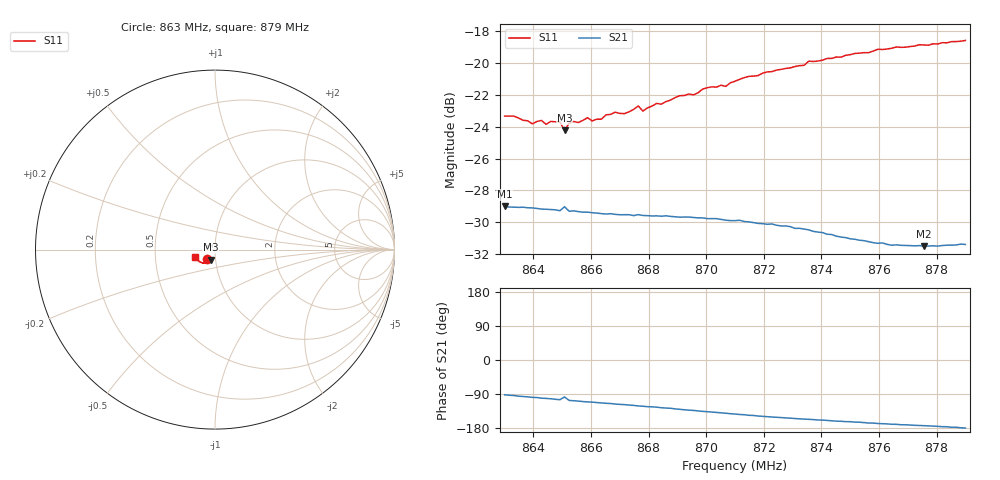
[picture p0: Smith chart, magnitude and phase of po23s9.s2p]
# HZ S RI R 50
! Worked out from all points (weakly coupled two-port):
!   101 points, 863 MHz to 879 MHz, reference 50 ohm
!   highest |S21| = -29.00 dB at 863 MHz (marker M1); lowest = -31.5 dB at 877.56 MHz (marker M2)
!   lowest |S11| = -24.2 dB at 865.08 MHz (marker M3), VSWR 1.13, Z = 47.3 - j5.36 ohm
!   |S11| at or under -10 dB: start of sweep to end of sweep
!   S12 and S22 are empty: the file has one direction only
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8.63e8  -0.0441 -0.052  -0.00117 -0.0355  0 0  0 0
8.6396e8  -0.0383 -0.0519  -0.00525 -0.0347  0 0  0 0
8.6428e8  -0.037 -0.0548  -0.00647 -0.0342  0 0  0 0
8.6444e8  -0.0369 -0.0526  -0.00682 -0.0341  0 0  0 0
8.6492e8  -0.0359 -0.0546  -0.00874 -0.0332  0 0  0 0
8.6508e8  -0.0246 -0.0564  -0.00464 -0.0351  0 0  0 0
8.6524e8  -0.0343 -0.0549  -0.00982 -0.0328  0 0  0 0
8.6572e8  -0.0332 -0.0572  -0.0115 -0.032  0 0  0 0
8.6636e8  -0.0331 -0.0579  -0.0133 -0.0309  0 0  0 0
8.6684e8  -0.034 -0.0614  -0.0148 -0.03  0 0  0 0
8.6716e8  -0.0325 -0.0613  -0.0156 -0.0296  0 0  0 0
8.6764e8  -0.035 -0.0645  -0.0173 -0.0286  0 0  0 0
8.678e8  -0.0335 -0.0623  -0.0176 -0.0282  0 0  0 0
8.6844e8  -0.0346 -0.0657  -0.0194 -0.0267  0 0  0 0
8.6908e8  -0.0387 -0.0689  -0.0211 -0.0251  0 0  0 0
8.6956e8  -0.039 -0.0693  -0.0224 -0.0239  0 0  0 0
8.6988e8  -0.0404 -0.0724  -0.0233 -0.0228  0 0  0 0
8.71e8  -0.0471 -0.074  -0.0254 -0.0194  0 0  0 0
8.7372e8  -0.0682 -0.0748  -0.0273 -0.0114  0 0  0 0
8.7644e8  -0.0922 -0.0625  -0.0263 -0.00484  0 0  0 0
8.7756e8  -0.1008 -0.0534  -0.0264 -0.0031  0 0  0 0
8.79e8  -0.1111 -0.0394  -0.0269 -0.000233  0 0  0 0
